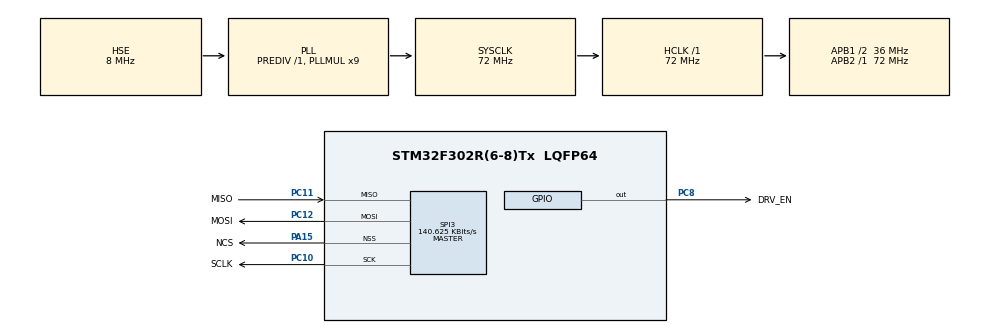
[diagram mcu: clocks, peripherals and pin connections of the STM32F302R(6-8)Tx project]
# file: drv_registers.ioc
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Mcu.Family=STM32F3
Mcu.Name=STM32F302R(6-8)Tx
Mcu.Package=LQFP64
NVIC.PriorityGroup=NVIC_PRIORITYGROUP_0
PA13.GPIO_Label=TMS
PA13.Mode=Serial_Wire
PA13.Signal=SYS_JTMS-SWDIO
PA14.GPIO_Label=TCK
PA14.Mode=Serial_Wire
PA14.Signal=SYS_JTCK-SWCLK
PA15.GPIO_Label=NCS
PA15.Mode=NSS_Signal_Hard_Output
PA15.Signal=SPI3_NSS
PC10.GPIO_Label=SCLK
PC10.Mode=Full_Duplex_Master
PC10.Signal=SPI3_SCK
PC11.GPIO_Label=MISO
PC11.Mode=Full_Duplex_Master
PC11.Signal=SPI3_MISO
PC12.GPIO_Label=MOSI
PC12.Mode=Full_Duplex_Master
PC12.Signal=SPI3_MOSI
PC14\ -\ OSC32_IN.Mode=LSE-External-Clock-Source
PC14\ -\ OSC32_IN.Signal=RCC_OSC32_IN
PC8.GPIO_Label=DRV_EN
PC8.Signal=GPIO_Output
PF0-OSC_IN.Mode=HSE-External-Oscillator
PF0-OSC_IN.Signal=RCC_OSC_IN
PF1-OSC_OUT.Mode=HSE-External-Oscillator
PF1-OSC_OUT.Signal=RCC_OSC_OUT
ProjectManager.HeapSize=0x200
ProjectManager.StackSize=0x400
ProjectManager.TargetToolchain=STM32CubeIDE
RCC.AHBFreq_Value=72000000
RCC.APB1CLKDivider=RCC_HCLK_DIV2
RCC.APB1Freq_Value=36000000
RCC.APB1TimFreq_Value=72000000
RCC.APB2Freq_Value=72000000
RCC.APB2TimFreq_Value=72000000
RCC.CortexFreq_Value=72000000
RCC.HCLKFreq_Value=72000000
RCC.HSE_VALUE=8000000
RCC.HSI_VALUE=8000000
RCC.LSE_VALUE=32768
RCC.PLLM=8
RCC.PLLMUL=RCC_PLL_MUL9
RCC.PLLN=336
RCC.PLLP=RCC_PLLP_DIV4
RCC.PLLQ=7
RCC.PLLSourceVirtual=RCC_PLLSOURCE_HSE
RCC.SYSCLKFreq_VALUE=72000000
RCC.SYSCLKSourceVirtual=RCC_SYSCLKSOURCE_PLLCLK
RCC.USBFreq_Value=72000000
SPI3.BaudRatePrescaler=SPI_BAUDRATEPRESCALER_256
SPI3.CalculateBaudRate=140.625 KBits/s
SPI3.DataSize=SPI_DATASIZE_16BIT
SPI3.Direction=SPI_DIRECTION_2LINES
SPI3.Mode=SPI_MODE_MASTER
SPI3.TIMode=SPI_TIMODE_ENABLE
SPI3.VirtualNSS=VM_NSSHARD
SPI3.VirtualType=VM_MASTER
board=NUCLEO-F302R8

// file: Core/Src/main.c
/* USER CODE BEGIN Header */
/**
  ******************************************************************************
  * @file           : main.c
  * @brief          : Main program body
  ******************************************************************************
  * @attention
  *
  * Copyright (c) 2026 STMicroelectronics.
  * All rights reserved.
  *
  * This software is licensed under terms that can be found in the LICENSE file
  * in the root directory of this software component.
  * If no LICENSE file comes with this software, it is provided AS-IS.
  *
  ******************************************************************************
  */
/* USER CODE END Header */
#include "main.h"
#include "spi.h"
#include "gpio.h"

/* USER CODE BEGIN PV */

uint16_t read = 0;
uint16_t rx_Data = 0;
uint16_t drv_regs[7];

/* USER CODE END PV */

void SystemClock_Config(void);

/* USER CODE BEGIN 0 */
uint16_t DRV_ReadRegister(uint8_t address)
{
    read = (1<<15) | (address << 11);
	HAL_SPI_TransmitReceive(&hspi3, (uint8_t*)&read,(uint8_t*)&rx_Data, 1, HAL_MAX_DELAY);
	return(rx_Data & 0x07FF);
}

void DRV_ReadAllRegisters(void)
{
    drv_regs[0] = DRV_ReadRegister(0x00); // Fault Status Register 1
    drv_regs[1] = DRV_ReadRegister(0x01); // Fault Status Register 2
    drv_regs[2] = DRV_ReadRegister(0x02); // Driver Control Register
    drv_regs[3] = DRV_ReadRegister(0x03); // Gate Drive HS Register
    drv_regs[4] = DRV_ReadRegister(0x04); // Gate Drive LS Register
    drv_regs[5] = DRV_ReadRegister(0x05); // OCP Control Register
    drv_regs[6] = DRV_ReadRegister(0x06); // CSA Control Register
}

/* USER CODE END 0 */

int main(void)
{

  /* MCU Configuration--------------------------------------------------------*/

  /* Reset of all peripherals, Initializes the Flash interface and the Systick. */
  HAL_Init();

  /* Configure the system clock */
  SystemClock_Config();

  /* Initialize all configured peripherals */
  MX_GPIO_Init();
  MX_SPI3_Init();
  /* USER CODE BEGIN 2 */
  HAL_GPIO_WritePin(GPIOC, GPIO_PIN_8 , SET);
  DRV_ReadAllRegisters();
  /* USER CODE END 2 */

  /* Infinite loop */
  while (1)
  {

  }
}

void SystemClock_Config(void)
{
  RCC_OscInitTypeDef RCC_OscInitStruct = {0};
  RCC_ClkInitTypeDef RCC_ClkInitStruct = {0};

  /** Initializes the RCC Oscillators according to the specified parameters
  * in the RCC_OscInitTypeDef structure.
  */
  RCC_OscInitStruct.OscillatorType = RCC_OSCILLATORTYPE_HSE;
  RCC_OscInitStruct.HSEState = RCC_HSE_ON;
  RCC_OscInitStruct.HSEPredivValue = RCC_HSE_PREDIV_DIV1;
  RCC_OscInitStruct.HSIState = RCC_HSI_ON;
  RCC_OscInitStruct.PLL.PLLState = RCC_PLL_ON;
  RCC_OscInitStruct.PLL.PLLSource = RCC_PLLSOURCE_HSE;
  RCC_OscInitStruct.PLL.PLLMUL = RCC_PLL_MUL9;
  if (HAL_RCC_OscConfig(&RCC_OscInitStruct) != HAL_OK)
  {
    Error_Handler();
  }

  /** Initializes the CPU, AHB and APB buses clocks
  */
  RCC_ClkInitStruct.ClockType = RCC_CLOCKTYPE_HCLK|RCC_CLOCKTYPE_SYSCLK
                              |RCC_CLOCKTYPE_PCLK1|RCC_CLOCKTYPE_PCLK2;
  RCC_ClkInitStruct.SYSCLKSource = RCC_SYSCLKSOURCE_PLLCLK;
  RCC_ClkInitStruct.AHBCLKDivider = RCC_SYSCLK_DIV1;
  RCC_ClkInitStruct.APB1CLKDivider = RCC_HCLK_DIV2;
  RCC_ClkInitStruct.APB2CLKDivider = RCC_HCLK_DIV1;

  if (HAL_RCC_ClockConfig(&RCC_ClkInitStruct, FLASH_LATENCY_2) != HAL_OK)
  {
    Error_Handler();
  }
}

void Error_Handler(void)
{
  __disable_irq();
  while (1)
  {
  }
}
